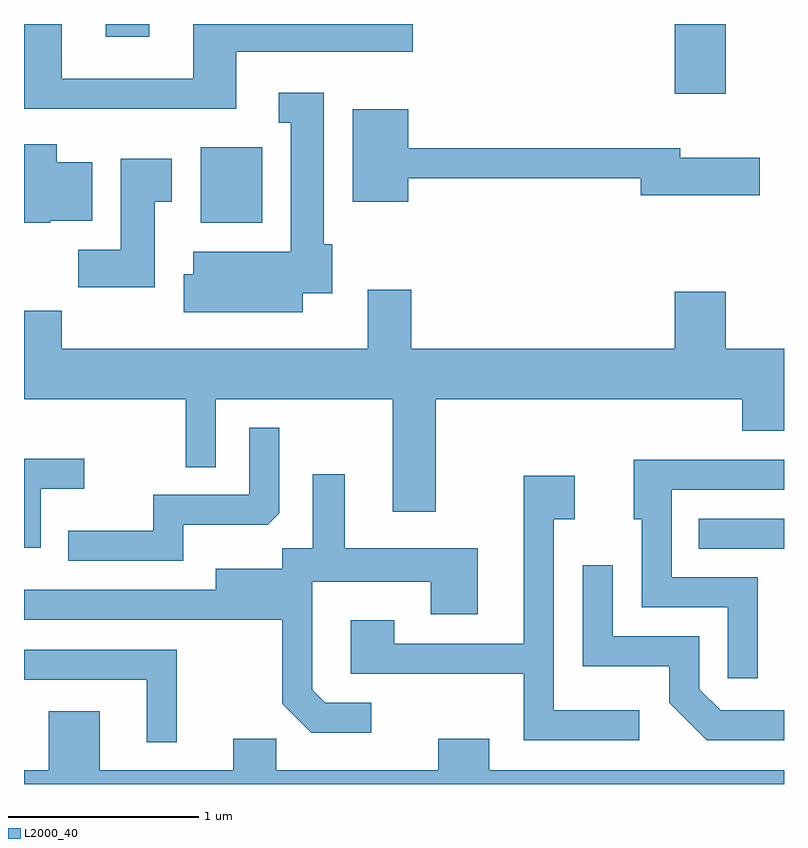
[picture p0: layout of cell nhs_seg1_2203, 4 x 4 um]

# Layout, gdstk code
import gdstk
lib = gdstk.Library(unit=1e-6, precision=1e-09)
def R(c, l, rs):  # rectangles x0, y0, x1, y1
    for r in rs: c.add(gdstk.rectangle(r[:2], r[2:], *l))
def P(c, l, *ps):  # polygons
    for p in ps: c.add(gdstk.Polygon(p, *l))
L2000_40 = (2000, 40)

nhs_seg1_2203 = lib.new_cell('nhs_seg1_2203')
R(nhs_seg1_2203, L2000_40, [(255.163,960.951,255.611,961.109), (252.541,962.666,252.864,963.064), (255.036,963.346,255.304,963.712), (252.041,963.646,252.269,963.712)])
P(nhs_seg1_2203, L2000_40, [(252.729,963.566),(253.658,963.566),(253.658,963.712),(252.501,963.712),(252.501,963.424),(251.809,963.424),(251.809,963.712),(251.611,963.712),(251.611,963.266),(252.729,963.266)],
  [(253.079,962.296),(253.234,962.296),(253.234,962.554),(253.189,962.554),(253.189,963.349),(252.953,963.349),(252.953,963.191),(253.016,963.191),(253.016,962.514),(252.501,962.514),(252.501,962.394),(252.451,962.394),(252.451,962.196),(253.079,962.196)],
  [(253.634,962.901),(254.856,962.901),(254.856,962.811),(255.484,962.811),(255.484,963.009),(255.064,963.009),(255.064,963.059),(253.634,963.059),(253.634,963.264),(253.341,963.264),(253.341,962.776),(253.634,962.776)],
  [(251.75,962.676),(251.969,962.676),(251.969,962.984),(251.784,962.984),(251.784,963.079),(251.611,963.079),(251.611,962.666),(251.75,962.666)],
  [(252.299,962.776),(252.389,962.776),(252.389,963.004),(252.121,963.004),(252.121,962.524),(251.896,962.524),(251.896,962.326),(252.299,962.326)],
  [(253.421,962.314),(253.421,962.004),(251.809,962.004),(251.809,962.204),(251.611,962.204),(251.611,961.736),(252.461,961.736),(252.461,961.378),(252.619,961.378),(252.619,961.736),(253.551,961.736),(253.551,961.146),(253.779,961.146),(253.779,961.736),(255.391,961.736),(255.391,961.571),(255.611,961.571),(255.611,962.004),(255.304,962.004),(255.304,962.304),(255.036,962.304),(255.036,962.004),(253.649,962.004),(253.649,962.314)],
  [(252.449,961.076),(252.894,961.076),(252.954,961.137),(252.954,961.588),(252.796,961.588),(252.796,961.234),(252.291,961.234),(252.291,961.044),(251.843,961.044),(251.843,960.886),(252.449,960.886)],
  [(251.699,961.266),(251.928,961.266),(251.928,961.424),(251.611,961.424),(251.611,960.956),(251.699,960.956)],
  [(255.474,960.799),(255.019,960.799),(255.019,961.261),(255.611,961.261),(255.611,961.419),(254.821,961.419),(254.821,961.106),(254.861,961.106),(254.861,960.641),(255.316,960.641),(255.316,960.268),(255.474,960.268)],
  [(253.438,960.139),(253.197,960.139),(253.129,960.207),(253.129,960.776),(253.751,960.776),(253.751,960.606),(253.999,960.606),(253.999,960.954),(253.299,960.954),(253.299,961.343),(253.131,961.343),(253.131,960.954),(252.971,960.954),(252.971,960.844),(252.621,960.844),(252.621,960.734),(251.611,960.734),(251.611,960.576),(252.971,960.576),(252.971,960.134),(253.124,959.981),(253.438,959.981)],
  [(254.848,960.099),(254.399,960.099),(254.399,961.106),(254.509,961.106),(254.509,961.334),(254.241,961.334),(254.241,960.449),(253.559,960.449),(253.559,960.574),(253.331,960.574),(253.331,960.291),(254.241,960.291),(254.241,959.941),(254.848,959.941)],
  [(255.611,960.099),(255.277,960.099),(255.164,960.212),(255.164,960.489),(254.709,960.489),(254.709,960.863),(254.551,960.863),(254.551,960.331),(255.006,960.331),(255.006,960.139),(255.204,959.941),(255.611,959.941)],
  [(252.414,960.419),(251.611,960.419),(251.611,960.261),(252.256,960.261),(252.256,959.933),(252.414,959.933)],
  [(255.611,959.784),(254.059,959.784),(254.059,959.949),(253.791,959.949),(253.791,959.784),(252.939,959.784),(252.939,959.949),(252.711,959.949),(252.711,959.784),(252.009,959.784),(252.009,960.094),(251.741,960.094),(251.741,959.784),(251.611,959.784),(251.611,959.712),(255.611,959.712)])

lib.write_gds('nhs_seg1_2203.gds')
